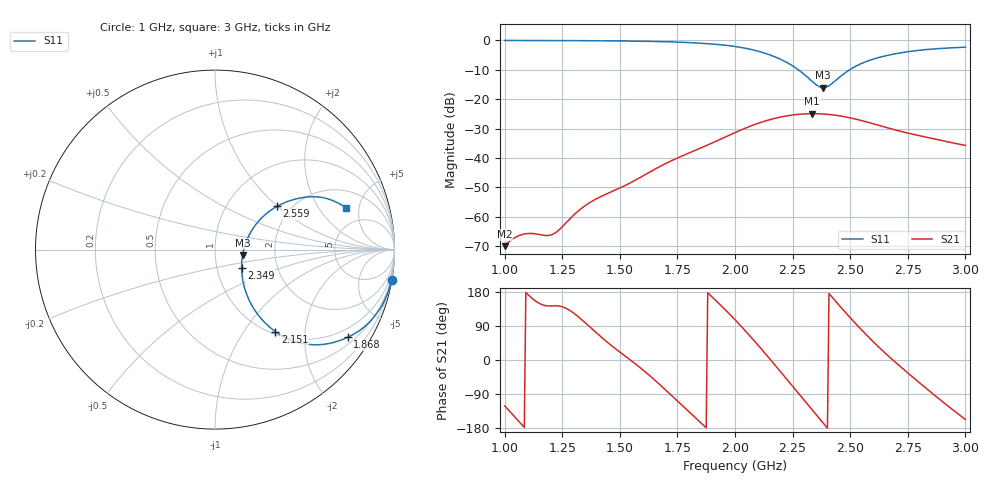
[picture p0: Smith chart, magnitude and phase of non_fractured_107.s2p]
! TOUCHSTONE file generated by CST MICROWAVE STUDIO
! Date and time: Sat Mar  8 13:54:42 2025
! Project name: non_fractured.cst
! Parameters = {B=2.5; D=160; F=10; Feed=2.85625; L=100; M=10; R=0.384908; S=2; Theta=180; length=57.125; wave=114.25}
! Header version: 2024
! Port assignment regex: !\s*Touchstone port\s*([0-9]+)\s*=\s*(CST MWS port|CST DES external port|CST DES block port)\s*(.+)\s* \(\"(.*)\"\)(\s*mode\s*([0-9]+))?.*
! Touchstone port assignment:
! Touchstone port 1 = CST MWS port 1 ("")
! Touchstone port 2 = CST MWS port 2 ("")
# GHz S DB R 50
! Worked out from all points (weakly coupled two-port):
!   305 points, 1 GHz to 3 GHz, reference 50 ohm
!   highest |S21| = -24.94 dB at 2.336 GHz (marker M1); lowest = -70.1 dB at 1 GHz (marker M2)
!   lowest |S11| = -16.1 dB at 2.382 GHz (marker M3), VSWR 1.37, Z = 68 - j4.22 ohm
!   |S11| at or under -10 dB: 2.275 GHz to 2.498 GHz (222.6 MHz wide, 9.33 % of centre)
!   S12 and S22 are empty: the file has one direction only
!   S11 on the Smith chart (normalised r, x): 1 GHz: 0, -12; 1.868 GHz: 0.70, -3.19; 2.151 GHz: 1.05, -1.41; 2.349 GHz: 1.31, -0.28; 2.559 GHz: 1.69, +0.99; 3 GHz: 3.25, +3.68
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1  -0.02 -9.7  -70.06 -120.8  -200.00 0.0  -200.00 0.0
1.03947  -0.02 -10.3  -67.37 -147.2  -200.00 0.0  -200.00 0.0
1.07895  -0.03 -10.8  -66.03 -173.6  -200.00 0.0  -200.00 0.0
1.18421  -0.04 -12.4  -66.44 142.9  -200.00 0.0  -200.00 0.0
1.21053  -0.05 -12.9  -65.97 142.9  -200.00 0.0  -200.00 0.0
1.33553  -0.09 -15.2  -57.07 105.9  -200.00 0.0  -200.00 0.0
1.39474  -0.12 -16.4  -54.08 73.7  -200.00 0.0  -200.00 0.0
1.67105  -0.40 -24.3  -43.05 -63.5  -200.00 0.0  -200.00 0.0
1.86842  -1.05 -33.4  -36.05 -175.2  -200.00 0.0  -200.00 0.0
2  -2.06 -42.2  -31.39 106.2  -200.00 0.0  -200.00 0.0
2.07895  -3.24 -48.5  -28.84 53.8  -200.00 0.0  -200.00 0.0
2.15132  -4.93 -53.6  -26.98 2.7  -200.00 0.0  -200.00 0.0
2.25  -8.66 -56.5  -25.39 -69.3  -200.00 0.0  -200.00 0.0
2.33553  -14.01 -41.3  -24.94 -132.2  -200.00 0.0  -200.00 0.0
2.34868  -14.88 -34.7  -24.95 -141.8  -200.00 0.0  -200.00 0.0
2.38158  -16.10 -11.1  -25.05 -165.7  -200.00 0.0  -200.00 0.0
2.40789  -15.43 8.6  -25.22 175.5  -200.00 0.0  -200.00 0.0
2.47368  -11.29 32.0  -25.96 129.5  -200.00 0.0  -200.00 0.0
2.55921  -7.52 34.9  -27.50 73.2  -200.00 0.0  -200.00 0.0
2.67105  -4.94 30.8  -29.96 7.6  -200.00 0.0  -200.00 0.0
2.82895  -3.13 23.6  -32.93 -74.3  -200.00 0.0  -200.00 0.0
3  -2.30 17.7  -35.73 -156.8  -200.00 0.0  -200.00 0.0
